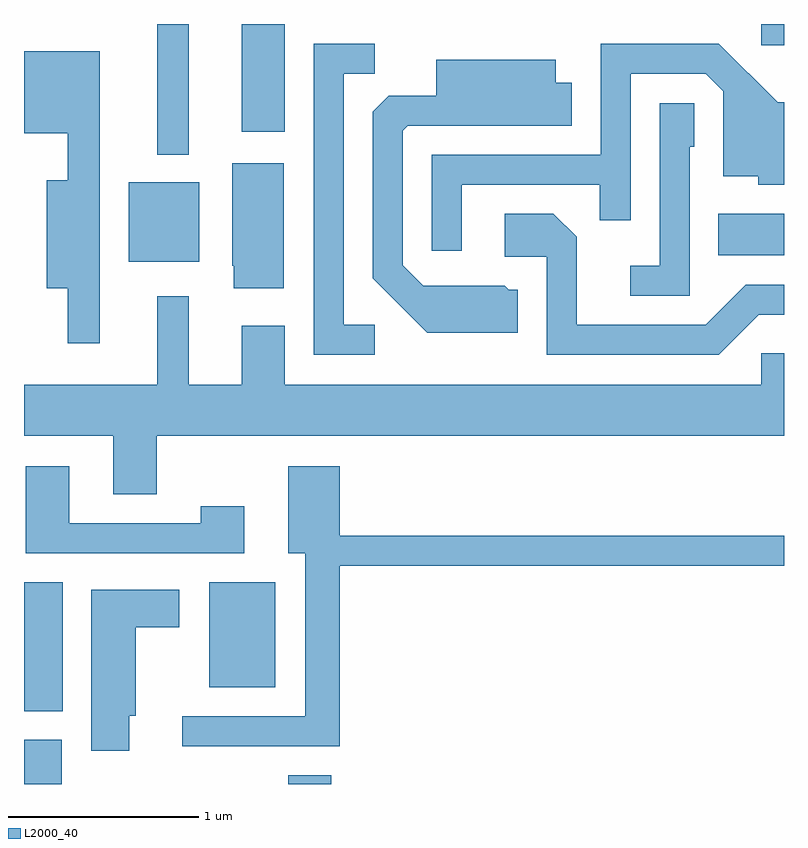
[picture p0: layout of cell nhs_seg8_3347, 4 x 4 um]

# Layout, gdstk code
import gdstk
lib = gdstk.Library(unit=1e-6, precision=1e-09)
def R(c, l, rs):  # rectangles x0, y0, x1, y1
    for r in rs: c.add(gdstk.rectangle(r[:2], r[2:], *l))
def P(c, l, *ps):  # polygons
    for p in ps: c.add(gdstk.Polygon(p, *l))
L2000_40 = (2000, 40)

nhs_seg8_3347 = lib.new_cell('nhs_seg8_3347')
R(nhs_seg8_3347, L2000_40, [(285.611,1852.342,285.809,1852.574), (287.001,1852.342,287.229,1852.389), (285.611,1852.726,285.814,1853.404), (286.586,1852.851,286.934,1853.404), (286.161,1855.091,286.534,1855.509), (289.266,1855.126,289.611,1855.344), (286.311,1855.653,286.479,1856.342), (286.756,1855.776,286.984,1856.342), (289.491,1856.231,289.611,1856.342)])
P(nhs_seg8_3347, L2000_40, [(287.458,1854.759),(287.294,1854.759),(287.294,1856.081),(287.458,1856.081),(287.458,1856.239),(287.136,1856.239),(287.136,1854.601),(287.458,1854.601)],
  [(287.914,1855.496),(288.641,1855.496),(288.641,1855.308),(288.804,1855.308),(288.804,1856.081),(289.199,1856.081),(289.291,1855.989),(289.291,1855.541),(289.476,1855.541),(289.476,1855.496),(289.611,1855.496),(289.611,1855.929),(289.577,1855.929),(289.267,1856.239),(288.646,1856.239),(288.646,1855.654),(287.756,1855.654),(287.756,1855.148),(287.914,1855.148)],
  [(286.009,1856.199),(285.611,1856.199),(285.611,1855.766),(285.841,1855.766),(285.841,1855.519),(285.731,1855.519),(285.731,1854.951),(285.841,1854.951),(285.841,1854.663),(286.009,1854.663)],
  [(288.209,1854.944),(288.162,1854.944),(288.142,1854.964),(287.712,1854.964),(287.604,1855.072),(287.604,1855.779),(287.632,1855.806),(288.494,1855.806),(288.494,1856.034),(288.409,1856.034),(288.409,1856.154),(287.781,1856.154),(287.781,1855.964),(287.532,1855.964),(287.446,1855.879),(287.446,1855.004),(287.734,1854.716),(288.209,1854.716)],
  [(289.114,1855.696),(289.139,1855.696),(289.139,1855.924),(288.956,1855.924),(288.956,1855.069),(288.803,1855.069),(288.803,1854.911),(289.114,1854.911)],
  [(286.979,1855.609),(286.706,1855.609),(286.706,1855.07),(286.716,1855.07),(286.716,1854.951),(286.979,1854.951)],
  [(289.477,1854.811),(289.611,1854.811),(289.611,1854.969),(289.409,1854.969),(289.199,1854.759),(288.519,1854.759),(288.519,1855.222),(288.397,1855.344),(288.141,1855.344),(288.141,1855.116),(288.361,1855.116),(288.361,1854.601),(289.267,1854.601)],
  [(286.309,1854.176),(289.611,1854.176),(289.611,1854.609),(289.491,1854.609),(289.491,1854.444),(286.984,1854.444),(286.984,1854.754),(286.756,1854.754),(286.756,1854.444),(286.479,1854.444),(286.479,1854.908),(286.311,1854.908),(286.311,1854.444),(285.611,1854.444),(285.611,1854.176),(286.081,1854.176),(286.081,1853.866),(286.309,1853.866)],
  [(286.769,1853.804),(286.541,1853.804),(286.541,1853.714),(285.849,1853.714),(285.849,1854.014),(285.621,1854.014),(285.621,1853.556),(286.769,1853.556)],
  [(287.274,1853.491),(289.611,1853.491),(289.611,1853.649),(287.274,1853.649),(287.274,1854.014),(287.001,1854.014),(287.001,1853.556),(287.091,1853.556),(287.091,1852.699),(286.443,1852.699),(286.443,1852.541),(287.274,1852.541)],
  [(286.164,1852.701),(286.199,1852.701),(286.199,1853.166),(286.429,1853.166),(286.429,1853.364),(285.966,1853.364),(285.966,1852.516),(286.164,1852.516)])

lib.write_gds('nhs_seg8_3347.gds')
